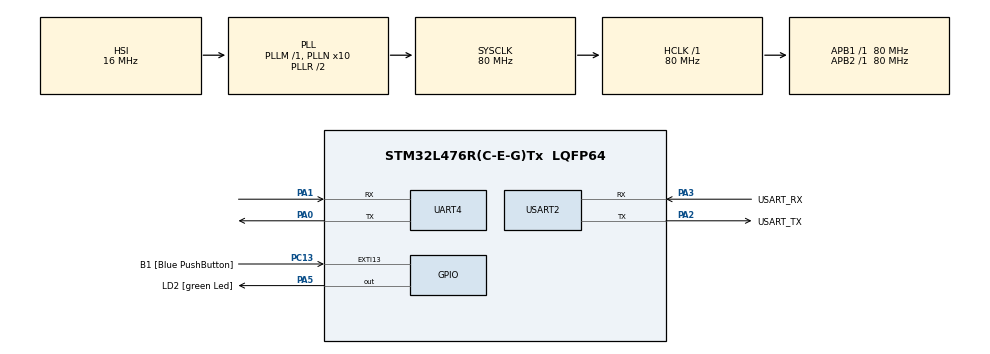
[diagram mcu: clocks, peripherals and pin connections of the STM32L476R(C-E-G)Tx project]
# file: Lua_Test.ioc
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Mcu.Family=STM32L4
Mcu.Name=STM32L476R(C-E-G)Tx
Mcu.Package=LQFP64
NVIC.EXTI15_10_IRQn=true\:0\:0\:false\:false\:true\:true\:true\:true
NVIC.PriorityGroup=NVIC_PRIORITYGROUP_4
PA0.Mode=Asynchronous
PA0.Signal=UART4_TX
PA1.Mode=Asynchronous
PA1.Signal=UART4_RX
PA13\ (JTMS-SWDIO).GPIO_Label=TMS
PA13\ (JTMS-SWDIO).Mode=Serial_Wire
PA13\ (JTMS-SWDIO).Signal=SYS_JTMS-SWDIO
PA14\ (JTCK-SWCLK).GPIO_Label=TCK
PA14\ (JTCK-SWCLK).Mode=Serial_Wire
PA14\ (JTCK-SWCLK).Signal=SYS_JTCK-SWCLK
PA2.GPIO_Label=USART_TX
PA2.GPIO_Mode=GPIO_MODE_AF_PP
PA2.GPIO_PuPd=GPIO_NOPULL
PA2.GPIO_Speed=GPIO_SPEED_FREQ_VERY_HIGH
PA2.Mode=Asynchronous
PA2.Signal=USART2_TX
PA3.GPIO_Label=USART_RX
PA3.GPIO_Mode=GPIO_MODE_AF_PP
PA3.GPIO_PuPd=GPIO_NOPULL
PA3.GPIO_Speed=GPIO_SPEED_FREQ_VERY_HIGH
PA3.Mode=Asynchronous
PA3.Signal=USART2_RX
PA5.GPIO_Label=LD2 [green Led]
PA5.GPIO_ModeDefaultOutputPP=GPIO_MODE_OUTPUT_PP
PA5.GPIO_PuPd=GPIO_NOPULL
PA5.GPIO_Speed=GPIO_SPEED_FREQ_LOW
PA5.Signal=GPIO_Output
PB3\ (JTDO-TRACESWO).GPIO_Label=SWO
PB3\ (JTDO-TRACESWO).Signal=SYS_JTDO-SWO
PC13.GPIO_Label=B1 [Blue PushButton]
PC13.GPIO_ModeDefaultEXTI=GPIO_MODE_IT_RISING_FALLING
PC13.GPIO_PuPd=GPIO_NOPULL
PC13.Signal=GPXTI13
PC14-OSC32_IN\ (PC14).Mode=LSE-External-Oscillator
PC14-OSC32_IN\ (PC14).Signal=RCC_OSC32_IN
PC15-OSC32_OUT\ (PC15).Mode=LSE-External-Oscillator
PC15-OSC32_OUT\ (PC15).Signal=RCC_OSC32_OUT
PH0-OSC_IN\ (PH0).Signal=RCC_OSC_IN
PH1-OSC_OUT\ (PH1).Signal=RCC_OSC_OUT
ProjectManager.HeapSize=0x18000
ProjectManager.StackSize=0x3000
ProjectManager.TargetToolchain=STM32CubeIDE
RCC.ADCFreq_Value=64000000
RCC.AHBFreq_Value=80000000
RCC.APB1Freq_Value=80000000
RCC.APB1TimFreq_Value=80000000
RCC.APB2Freq_Value=80000000
RCC.APB2TimFreq_Value=80000000
RCC.CortexFreq_Value=80000000
RCC.HCLKFreq_Value=80000000
RCC.HSE_VALUE=8000000
RCC.HSI_VALUE=16000000
RCC.MSI_VALUE=4000000
RCC.PLLN=10
RCC.PLLSourceVirtual=RCC_PLLSOURCE_HSI
RCC.PREFETCH_ENABLE=1
RCC.SYSCLKFreq_VALUE=80000000
RCC.SYSCLKSource=RCC_SYSCLKSOURCE_PLLCLK
RCC.USBFreq_Value=64000000
RCC.VCOOutputFreq_Value=160000000
USART2.VirtualMode-Asynchronous=VM_ASYNC
board=NUCLEO-L476RG

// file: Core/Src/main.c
/* USER CODE BEGIN Header */
/**
 ******************************************************************************
 * @file           : main.c
 * @brief          : Main program body
 ******************************************************************************
 * @attention
 *
 * Copyright (c) 2023 STMicroelectronics.
 * All rights reserved.
 *
 * This software is licensed under terms that can be found in the LICENSE file
 * in the root directory of this software component.
 * If no LICENSE file comes with this software, it is provided AS-IS.
 *
 ******************************************************************************
 */
/* USER CODE END Header */
#include "main.h"

/* USER CODE BEGIN Includes */
#include "stdio.h"
#include "lua.h"
#include "lualib.h"
#include "script1.h"
#include "script2.h"
#include "script3.h"
#include "script4.h"
#include "script5.h"
#include "script6.h"
#include "script7.h"
#include "script8.h"
#include "script9.h"
#include "luaInterface.h"
#include "lauxlib.h"
#include "luaHelper.h"
#include <stdio.h>
#include <stdlib.h>
#define PUTCHAR_PROTOTYPE int __io_putchar(uint8_t ch)
#define SCRIPT_COUNT 9
/* USER CODE END Includes */

/* USER CODE BEGIN PTD */
typedef struct
{
  const char *nome;
  const char *script;
} ScriptInfo;

typedef struct
{
  lua_State *global;
  lua_State *courotine[SCRIPT_COUNT];
} LuaContext;
/* USER CODE END PTD */

UART_HandleTypeDef huart4;
UART_HandleTypeDef huart2;

/* USER CODE BEGIN PV */
static bool status_button = false;
static uint64_t memory_size = 0;
/* USER CODE END PV */

void SystemClock_Config(void);
static void MX_GPIO_Init(void);
static void MX_USART2_UART_Init(void);
static void MX_UART4_Init(void);
/* USER CODE BEGIN PFP */
PUTCHAR_PROTOTYPE
{
  HAL_UART_Transmit(&huart4, (uint8_t *)&ch, 1, 0xFFFF);
  return ch;
}
/* USER CODE END PFP */

/* USER CODE BEGIN 0 */
void TrackSubtract(size_t size)
{
  memory_size -= size;
}

void TrackAdd(size_t size)
{
  memory_size += size;
  if (memory_size > 50000)
    printf("TrackAdd: %d\r\n", size);
}
void *MyAlloc(void *ud, void *ptr, size_t osize, size_t nsize)
{
  (void)ud;
  (void)osize; // Not used
  if (nsize == 0)
  {
    free(ptr);
    TrackSubtract(osize);
    return NULL;
  }
  else
  {
    void *p = realloc(ptr, nsize);
    TrackSubtract(osize);
    if (p)
      TrackAdd(nsize);
    else
      __asm("NOP");
    return p;
  }
}
/* USER CODE END 0 */

int main(void)
{

  /* MCU Configuration--------------------------------------------------------*/

  /* Reset of all peripherals, Initializes the Flash interface and the Systick. */
  HAL_Init();

  /* Configure the system clock */
  SystemClock_Config();

  /* Initialize all configured peripherals */
  MX_GPIO_Init();
  MX_USART2_UART_Init();
  MX_UART4_Init();

  /* Infinite loop */
  while (1)
  {

    /* USER CODE BEGIN 3 */
    HAL_GPIO_TogglePin(LD2_GPIO_Port, LD2_Pin);

    LuaContext context;
    ScriptInfo scripts[SCRIPT_COUNT] = {
        {"script1", script1},
        {"script2", script2},
        {"script3", script3},
        {"script4", script4},
        {"script5", script5},
        {"script6", script6},
        {"script7", script7},
        {"script8", script8},
        {"script9", script9},
        // Adicione os scripts restantes aqui
    };
    char coroName[10] = {0};
    // Criar estados Lua para cada script
    context.global = lua_newstate(&MyAlloc, 0); /* create state */
    if (context.global == NULL)
    {
      lua_writestring("Cannot create state: not enough memory", sizeof("Cannot create state: not enough memory") - 1);
      while (1)
      {
        HAL_Delay(1000);
      }
    }
    else
    {
      luaL_openlibs(context.global);         /* open standard libraries */
      lua_gc(context.global, LUA_GCSTOP, 0); // stop the automatic garbage collection
      HAL_Delay(10);
      for (uint8_t i = 0; i < SCRIPT_COUNT; i++)
      {
        // Executar script
        if (dostring(context.global, scripts[i].script, scripts[i].nome) != LUA_OK)
        {
          lua_writestring("Error executing Lua script", sizeof("Error executing Lua script") - 1);
          while (1)
          {
            HAL_Delay(1000);
          }
        }
        snprintf(coroName, sizeof(coroName), "coro%d", i + 1);
        lua_getglobal(context.global, coroName);
        printf("%s\n", coroName);
        context.courotine[i] = lua_tothread(context.global, -1);
      }
    }
    int counter[SCRIPT_COUNT] = {0};
    while (1)
    {
      int nres;

      HAL_Delay(100);

      for (int i = 0; i < SCRIPT_COUNT; ++i)
      {
        if (counter[i] % 100 == 99)
        {
          lua_pushstring(context.courotine[i], "gnss_event");
        }
        else
        {
          lua_pushstring(context.courotine[i], "empty");
        }
        int resume_status = lua_resume(context.courotine[i], NULL, 1, &nres);
        if (resume_status != 0 && resume_status != LUA_YIELD)
        {
          const char *error_message = lua_tostring(context.courotine[i], -1);
          return luaL_error(context.global, error_message);
        }
        lua_gc(context.global, LUA_GCCOLLECT, 0); // collect garbage
        counter[i]++;
        lua_writeline();
        printf("Counter %d\r\n", counter[i]);
        printf("ESTAMOS RODANDO O %s\r\n", scripts[i].nome);
        lua_writestringWithoutsize("\n****************************************************************************\n");
      }
    }
    return 0;
  }
  /* USER CODE END 3 */
}

void SystemClock_Config(void)
{
  RCC_OscInitTypeDef RCC_OscInitStruct = {0};
  RCC_ClkInitTypeDef RCC_ClkInitStruct = {0};

  /** Configure the main internal regulator output voltage
   */
  if (HAL_PWREx_ControlVoltageScaling(PWR_REGULATOR_VOLTAGE_SCALE1) != HAL_OK)
  {
    Error_Handler();
  }

  /** Initializes the RCC Oscillators according to the specified parameters
   * in the RCC_OscInitTypeDef structure.
   */
  RCC_OscInitStruct.OscillatorType = RCC_OSCILLATORTYPE_HSI;
  RCC_OscInitStruct.HSIState = RCC_HSI_ON;
  RCC_OscInitStruct.HSICalibrationValue = RCC_HSICALIBRATION_DEFAULT;
  RCC_OscInitStruct.PLL.PLLState = RCC_PLL_ON;
  RCC_OscInitStruct.PLL.PLLSource = RCC_PLLSOURCE_HSI;
  RCC_OscInitStruct.PLL.PLLM = 1;
  RCC_OscInitStruct.PLL.PLLN = 10;
  RCC_OscInitStruct.PLL.PLLP = RCC_PLLP_DIV7;
  RCC_OscInitStruct.PLL.PLLQ = RCC_PLLQ_DIV2;
  RCC_OscInitStruct.PLL.PLLR = RCC_PLLR_DIV2;
  if (HAL_RCC_OscConfig(&RCC_OscInitStruct) != HAL_OK)
  {
    Error_Handler();
  }

  /** Initializes the CPU, AHB and APB buses clocks
   */
  RCC_ClkInitStruct.ClockType = RCC_CLOCKTYPE_HCLK | RCC_CLOCKTYPE_SYSCLK | RCC_CLOCKTYPE_PCLK1 | RCC_CLOCKTYPE_PCLK2;
  RCC_ClkInitStruct.SYSCLKSource = RCC_SYSCLKSOURCE_PLLCLK;
  RCC_ClkInitStruct.AHBCLKDivider = RCC_SYSCLK_DIV1;
  RCC_ClkInitStruct.APB1CLKDivider = RCC_HCLK_DIV1;
  RCC_ClkInitStruct.APB2CLKDivider = RCC_HCLK_DIV1;

  if (HAL_RCC_ClockConfig(&RCC_ClkInitStruct, FLASH_LATENCY_4) != HAL_OK)
  {
    Error_Handler();
  }
}

static void MX_UART4_Init(void)
{

  huart4.Instance = UART4;
  huart4.Init.BaudRate = 115200;
  huart4.Init.WordLength = UART_WORDLENGTH_8B;
  huart4.Init.StopBits = UART_STOPBITS_1;
  huart4.Init.Parity = UART_PARITY_NONE;
  huart4.Init.Mode = UART_MODE_TX_RX;
  huart4.Init.HwFlowCtl = UART_HWCONTROL_NONE;
  huart4.Init.OverSampling = UART_OVERSAMPLING_16;
  huart4.Init.OneBitSampling = UART_ONE_BIT_SAMPLE_DISABLE;
  huart4.AdvancedInit.AdvFeatureInit = UART_ADVFEATURE_NO_INIT;
  if (HAL_UART_Init(&huart4) != HAL_OK)
  {
    Error_Handler();
  }
}

static void MX_USART2_UART_Init(void)
{

  huart2.Instance = USART2;
  huart2.Init.BaudRate = 115200;
  huart2.Init.WordLength = UART_WORDLENGTH_8B;
  huart2.Init.StopBits = UART_STOPBITS_1;
  huart2.Init.Parity = UART_PARITY_NONE;
  huart2.Init.Mode = UART_MODE_TX_RX;
  huart2.Init.HwFlowCtl = UART_HWCONTROL_NONE;
  huart2.Init.OverSampling = UART_OVERSAMPLING_16;
  huart2.Init.OneBitSampling = UART_ONE_BIT_SAMPLE_DISABLE;
  huart2.AdvancedInit.AdvFeatureInit = UART_ADVFEATURE_NO_INIT;
  if (HAL_UART_Init(&huart2) != HAL_OK)
  {
    Error_Handler();
  }
}

static void MX_GPIO_Init(void)
{
  GPIO_InitTypeDef GPIO_InitStruct = {0};

  /* GPIO Ports Clock Enable */
  __HAL_RCC_GPIOC_CLK_ENABLE();
  __HAL_RCC_GPIOH_CLK_ENABLE();
  __HAL_RCC_GPIOA_CLK_ENABLE();
  __HAL_RCC_GPIOB_CLK_ENABLE();

  /*Configure GPIO pin Output Level */
  HAL_GPIO_WritePin(LD2_GPIO_Port, LD2_Pin, GPIO_PIN_RESET);

  /*Configure GPIO pin : B1_Pin */
  GPIO_InitStruct.Pin = B1_Pin;
  GPIO_InitStruct.Mode = GPIO_MODE_IT_RISING_FALLING;
  GPIO_InitStruct.Pull = GPIO_NOPULL;
  HAL_GPIO_Init(B1_GPIO_Port, &GPIO_InitStruct);

  /*Configure GPIO pin : LD2_Pin */
  GPIO_InitStruct.Pin = LD2_Pin;
  GPIO_InitStruct.Mode = GPIO_MODE_OUTPUT_PP;
  GPIO_InitStruct.Pull = GPIO_NOPULL;
  GPIO_InitStruct.Speed = GPIO_SPEED_FREQ_LOW;
  HAL_GPIO_Init(LD2_GPIO_Port, &GPIO_InitStruct);

  /* EXTI interrupt init*/
  HAL_NVIC_SetPriority(EXTI15_10_IRQn, 0, 0);
  HAL_NVIC_EnableIRQ(EXTI15_10_IRQn);

}

/* USER CODE BEGIN 4 */
void HAL_GPIO_EXTI_Callback(uint16_t GPIO_Pin)
{
  if (GPIO_Pin == B1_Pin)
  {
    status_button = HAL_GPIO_ReadPin(B1_GPIO_Port, B1_Pin) == GPIO_PIN_SET ? false : true;
  }
}

bool button_state()
{
  return status_button;
}
/* USER CODE END 4 */

void Error_Handler(void)
{
  __disable_irq();
  while (1)
  {
  }
}
